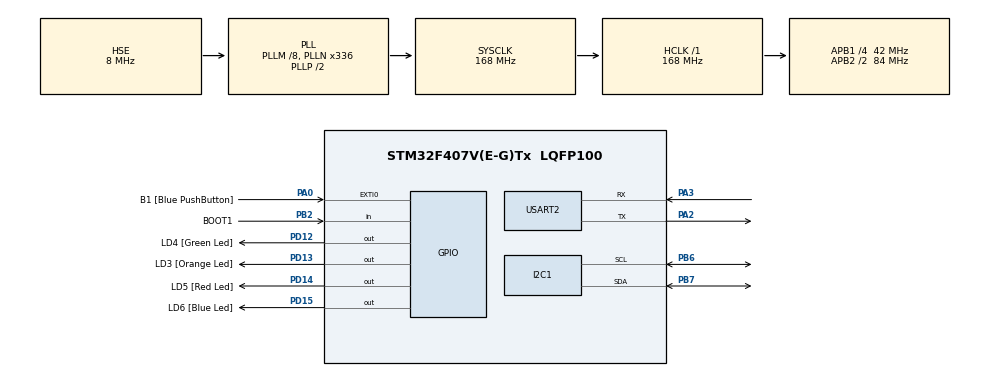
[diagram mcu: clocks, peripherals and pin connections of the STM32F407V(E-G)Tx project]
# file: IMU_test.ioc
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Mcu.Family=STM32F4
Mcu.Name=STM32F407V(E-G)Tx
Mcu.Package=LQFP100
NVIC.PriorityGroup=NVIC_PRIORITYGROUP_0
NVIC.TIM2_IRQn=true\:0\:0\:false\:false\:true\:true\:true\:true
NVIC.USART2_IRQn=true\:0\:0\:false\:false\:true\:true\:true\:true
PA0-WKUP.GPIO_Label=B1 [Blue PushButton]
PA0-WKUP.GPIO_ModeDefaultEXTI=GPIO_MODE_EVT_RISING
PA0-WKUP.GPIO_PuPd=GPIO_NOPULL
PA0-WKUP.Signal=GPXTI0
PA2.Mode=Asynchronous
PA2.Signal=USART2_TX
PA3.Mode=Asynchronous
PA3.Signal=USART2_RX
PB2.GPIO_Label=BOOT1
PB2.GPIO_Mode=GPIO_MODE_INPUT
PB2.GPIO_PuPd=GPIO_NOPULL
PB2.Signal=GPIO_Input
PB6.Mode=I2C
PB6.Signal=I2C1_SCL
PB7.Mode=I2C
PB7.Signal=I2C1_SDA
PC14-OSC32_IN.GPIO_Label=PC14-OSC32_IN
PC14-OSC32_IN.Mode=LSE-External-Oscillator
PC14-OSC32_IN.Signal=RCC_OSC32_IN
PC15-OSC32_OUT.GPIO_Label=PC15-OSC32_OUT
PC15-OSC32_OUT.Mode=LSE-External-Oscillator
PC15-OSC32_OUT.Signal=RCC_OSC32_OUT
PD12.GPIO_Label=LD4 [Green Led]
PD12.GPIO_PuPd=GPIO_NOPULL
PD12.GPIO_Speed=GPIO_SPEED_FREQ_LOW
PD12.Signal=GPIO_Output
PD13.GPIO_Label=LD3 [Orange Led]
PD13.GPIO_PuPd=GPIO_NOPULL
PD13.GPIO_Speed=GPIO_SPEED_FREQ_LOW
PD13.Signal=GPIO_Output
PD14.GPIO_Label=LD5 [Red Led]
PD14.GPIO_PuPd=GPIO_NOPULL
PD14.GPIO_Speed=GPIO_SPEED_FREQ_LOW
PD14.Signal=GPIO_Output
PD15.GPIO_Label=LD6 [Blue Led]
PD15.GPIO_PuPd=GPIO_NOPULL
PD15.GPIO_Speed=GPIO_SPEED_FREQ_LOW
PD15.Signal=GPIO_Output
PH0-OSC_IN.GPIO_Label=PH0-OSC_IN
PH0-OSC_IN.Mode=HSE-External-Oscillator
PH0-OSC_IN.Signal=RCC_OSC_IN
PH1-OSC_OUT.GPIO_Label=PH1-OSC_OUT
PH1-OSC_OUT.Mode=HSE-External-Oscillator
PH1-OSC_OUT.Signal=RCC_OSC_OUT
ProjectManager.HeapSize=0x200
ProjectManager.StackSize=0x400
ProjectManager.TargetToolchain=STM32CubeIDE
RCC.48MHZClocksFreq_Value=48000000
RCC.AHBFreq_Value=168000000
RCC.APB1CLKDivider=RCC_HCLK_DIV4
RCC.APB1Freq_Value=42000000
RCC.APB1TimFreq_Value=84000000
RCC.APB2CLKDivider=RCC_HCLK_DIV2
RCC.APB2Freq_Value=84000000
RCC.APB2TimFreq_Value=168000000
RCC.CortexFreq_Value=168000000
RCC.HCLKFreq_Value=168000000
RCC.HSE_VALUE=8000000
RCC.HSI_VALUE=16000000
RCC.PLLM=8
RCC.PLLN=336
RCC.PLLQ=7
RCC.PLLSourceVirtual=RCC_PLLSOURCE_HSE
RCC.SYSCLKFreq_VALUE=168000000
RCC.SYSCLKSource=RCC_SYSCLKSOURCE_PLLCLK
RCC.VCOOutputFreq_Value=336000000
TIM2.Period=3500-1
TIM2.Prescaler=12-1
USART2.VirtualMode=VM_ASYNC
VP_TIM2_VS_ClockSourceINT.Mode=Internal
board=STM32F407G-DISC1

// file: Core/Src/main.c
/* USER CODE BEGIN Header */
/**
  ******************************************************************************
  * @file           : main.c
  * @brief          : Main program body
  ******************************************************************************
  * @attention
  *
  * <h2><center>&copy; Copyright (c) 2019 STMicroelectronics.
  * All rights reserved.</center></h2>
  *
  * This software component is licensed by ST under BSD 3-Clause license,
  * the "License"; You may not use this file except in compliance with the
  * License. You may obtain a copy of the License at:
  *                        opensource.org/licenses/BSD-3-Clause
  *
  ******************************************************************************
  */
/* USER CODE END Header */
#include "main.h"

/* USER CODE BEGIN Includes */
#include "TJ_MPU6050.h"
#include "stdio.h"
/* USER CODE END Includes */

/* USER CODE BEGIN PD */
#define BUFFER_SIZE 64
/* USER CODE END PD */

I2C_HandleTypeDef hi2c1;

TIM_HandleTypeDef htim2;

UART_HandleTypeDef huart2;

void SystemClock_Config(void);
static void MX_GPIO_Init(void);
static void MX_I2C1_Init(void);
static void MX_USART2_UART_Init(void);
static void MX_TIM2_Init(void);

/* USER CODE BEGIN 0 */
RawData_Def gAccelRaw, gGyroRaw;
ScaledData_Def gAccelScaled, gGyroScaled;

char gUart_buf[BUFFER_SIZE];
float gX_acc = 0;
float gY_acc = 0;
float gZ_acc = 0;
volatile uint8_t gTimerFlag = 0;

/* USER CODE END 0 */

int main(void)
{
  /* USER CODE BEGIN 1 */
	MPU_ConfigTypeDef myMpuConfig;
  /* USER CODE END 1 */

  /* MCU Configuration--------------------------------------------------------*/

  /* Reset of all peripherals, Initializes the Flash interface and the Systick. */
  HAL_Init();

  /* Configure the system clock */
  SystemClock_Config();

  /* Initialize all configured peripherals */
  MX_GPIO_Init();
  MX_I2C1_Init();
  MX_USART2_UART_Init();
  MX_TIM2_Init();
  /* USER CODE BEGIN 2 */
   HAL_TIM_Base_Start_IT(&htim2);
	//1. Initialise the MPU6050 module and I2C
	MPU6050_Init(&hi2c1);
	//2. Configure Accel and Gyro parameters
	myMpuConfig.Accel_Full_Scale = AFS_SEL_4g;
	myMpuConfig.ClockSource = Internal_8MHz;
	myMpuConfig.CONFIG_DLPF = DLPF_184A_188G_Hz;
	myMpuConfig.Gyro_Full_Scale = FS_SEL_500;
	myMpuConfig.Sleep_Mode_Bit = 0;  //1: sleep mode, 0: normal mode
	MPU6050_Config(&myMpuConfig);

	//HAL_UART_Transmit_IT(&huart2, &gUart_buf, 1);  // Note: Need to call it the first time

  /* USER CODE END 2 */

  /* Infinite loop */
  while (1)
  {

    /* USER CODE BEGIN 3 */

		if (gTimerFlag ==1)
		{
			gTimerFlag = 0;
			//Scaled data
			MPU6050_Get_Accel_Scale(&gAccelScaled);
			MPU6050_Get_Gyro_Scale(&gGyroScaled);

			gX_acc = gAccelScaled.x;
			gY_acc = gAccelScaled.y;
			gZ_acc = gAccelScaled.z;

			//gAngX = atan(gX_acc/sqrt((gY_acc*gY_acc) + (gZ_acc*gZ_acc)));

			sprintf(gUart_buf,"Angl: %.2f %.2f %.2f \r\n",gX_acc,gY_acc,gZ_acc);
			HAL_UART_Transmit(&huart2, (uint8_t *)gUart_buf, strlen((char*)gUart_buf), HAL_MAX_DELAY);
		}

  }
  /* USER CODE END 3 */
}

void SystemClock_Config(void)
{
  RCC_OscInitTypeDef RCC_OscInitStruct = {0};
  RCC_ClkInitTypeDef RCC_ClkInitStruct = {0};

  /** Configure the main internal regulator output voltage
  */
  __HAL_RCC_PWR_CLK_ENABLE();
  __HAL_PWR_VOLTAGESCALING_CONFIG(PWR_REGULATOR_VOLTAGE_SCALE1);

  /** Initializes the RCC Oscillators according to the specified parameters
  * in the RCC_OscInitTypeDef structure.
  */
  RCC_OscInitStruct.OscillatorType = RCC_OSCILLATORTYPE_HSE;
  RCC_OscInitStruct.HSEState = RCC_HSE_ON;
  RCC_OscInitStruct.PLL.PLLState = RCC_PLL_ON;
  RCC_OscInitStruct.PLL.PLLSource = RCC_PLLSOURCE_HSE;
  RCC_OscInitStruct.PLL.PLLM = 8;
  RCC_OscInitStruct.PLL.PLLN = 336;
  RCC_OscInitStruct.PLL.PLLP = RCC_PLLP_DIV2;
  RCC_OscInitStruct.PLL.PLLQ = 7;
  if (HAL_RCC_OscConfig(&RCC_OscInitStruct) != HAL_OK)
  {
    Error_Handler();
  }

  /** Initializes the CPU, AHB and APB buses clocks
  */
  RCC_ClkInitStruct.ClockType = RCC_CLOCKTYPE_HCLK|RCC_CLOCKTYPE_SYSCLK
                              |RCC_CLOCKTYPE_PCLK1|RCC_CLOCKTYPE_PCLK2;
  RCC_ClkInitStruct.SYSCLKSource = RCC_SYSCLKSOURCE_PLLCLK;
  RCC_ClkInitStruct.AHBCLKDivider = RCC_SYSCLK_DIV1;
  RCC_ClkInitStruct.APB1CLKDivider = RCC_HCLK_DIV4;
  RCC_ClkInitStruct.APB2CLKDivider = RCC_HCLK_DIV2;

  if (HAL_RCC_ClockConfig(&RCC_ClkInitStruct, FLASH_LATENCY_5) != HAL_OK)
  {
    Error_Handler();
  }
}

static void MX_I2C1_Init(void)
{

  hi2c1.Instance = I2C1;
  hi2c1.Init.ClockSpeed = 100000;
  hi2c1.Init.DutyCycle = I2C_DUTYCYCLE_2;
  hi2c1.Init.OwnAddress1 = 0;
  hi2c1.Init.AddressingMode = I2C_ADDRESSINGMODE_7BIT;
  hi2c1.Init.DualAddressMode = I2C_DUALADDRESS_DISABLE;
  hi2c1.Init.OwnAddress2 = 0;
  hi2c1.Init.GeneralCallMode = I2C_GENERALCALL_DISABLE;
  hi2c1.Init.NoStretchMode = I2C_NOSTRETCH_DISABLE;
  if (HAL_I2C_Init(&hi2c1) != HAL_OK)
  {
    Error_Handler();
  }

}

static void MX_TIM2_Init(void)
{

  TIM_ClockConfigTypeDef sClockSourceConfig = {0};
  TIM_MasterConfigTypeDef sMasterConfig = {0};

  htim2.Instance = TIM2;
  htim2.Init.Prescaler = 12-1;
  htim2.Init.CounterMode = TIM_COUNTERMODE_UP;
  htim2.Init.Period = 3500-1;
  htim2.Init.ClockDivision = TIM_CLOCKDIVISION_DIV1;
  htim2.Init.AutoReloadPreload = TIM_AUTORELOAD_PRELOAD_DISABLE;
  if (HAL_TIM_Base_Init(&htim2) != HAL_OK)
  {
    Error_Handler();
  }
  sClockSourceConfig.ClockSource = TIM_CLOCKSOURCE_INTERNAL;
  if (HAL_TIM_ConfigClockSource(&htim2, &sClockSourceConfig) != HAL_OK)
  {
    Error_Handler();
  }
  sMasterConfig.MasterOutputTrigger = TIM_TRGO_RESET;
  sMasterConfig.MasterSlaveMode = TIM_MASTERSLAVEMODE_DISABLE;
  if (HAL_TIMEx_MasterConfigSynchronization(&htim2, &sMasterConfig) != HAL_OK)
  {
    Error_Handler();
  }

}

static void MX_USART2_UART_Init(void)
{

  huart2.Instance = USART2;
  huart2.Init.BaudRate = 115200;
  huart2.Init.WordLength = UART_WORDLENGTH_8B;
  huart2.Init.StopBits = UART_STOPBITS_1;
  huart2.Init.Parity = UART_PARITY_NONE;
  huart2.Init.Mode = UART_MODE_TX_RX;
  huart2.Init.HwFlowCtl = UART_HWCONTROL_NONE;
  huart2.Init.OverSampling = UART_OVERSAMPLING_16;
  if (HAL_UART_Init(&huart2) != HAL_OK)
  {
    Error_Handler();
  }

}

static void MX_GPIO_Init(void)
{
  GPIO_InitTypeDef GPIO_InitStruct = {0};

  /* GPIO Ports Clock Enable */
  __HAL_RCC_GPIOC_CLK_ENABLE();
  __HAL_RCC_GPIOH_CLK_ENABLE();
  __HAL_RCC_GPIOA_CLK_ENABLE();
  __HAL_RCC_GPIOB_CLK_ENABLE();
  __HAL_RCC_GPIOD_CLK_ENABLE();

  /*Configure GPIO pin Output Level */
  HAL_GPIO_WritePin(GPIOD, LD4_Pin|LD3_Pin|LD5_Pin|LD6_Pin, GPIO_PIN_RESET);

  /*Configure GPIO pin : B1_Pin */
  GPIO_InitStruct.Pin = B1_Pin;
  GPIO_InitStruct.Mode = GPIO_MODE_EVT_RISING;
  GPIO_InitStruct.Pull = GPIO_NOPULL;
  HAL_GPIO_Init(B1_GPIO_Port, &GPIO_InitStruct);

  /*Configure GPIO pin : BOOT1_Pin */
  GPIO_InitStruct.Pin = BOOT1_Pin;
  GPIO_InitStruct.Mode = GPIO_MODE_INPUT;
  GPIO_InitStruct.Pull = GPIO_NOPULL;
  HAL_GPIO_Init(BOOT1_GPIO_Port, &GPIO_InitStruct);

  /*Configure GPIO pins : LD4_Pin LD3_Pin LD5_Pin LD6_Pin */
  GPIO_InitStruct.Pin = LD4_Pin|LD3_Pin|LD5_Pin|LD6_Pin;
  GPIO_InitStruct.Mode = GPIO_MODE_OUTPUT_PP;
  GPIO_InitStruct.Pull = GPIO_NOPULL;
  GPIO_InitStruct.Speed = GPIO_SPEED_FREQ_LOW;
  HAL_GPIO_Init(GPIOD, &GPIO_InitStruct);

}

/* USER CODE BEGIN 4 */
void HAL_TIM_PeriodElapsedCallback(TIM_HandleTypeDef *htim)
{
	if(htim == &htim2)
	{
		gTimerFlag = 1;
	}
}

/* USER CODE END 4 */

void Error_Handler(void)
{
}
